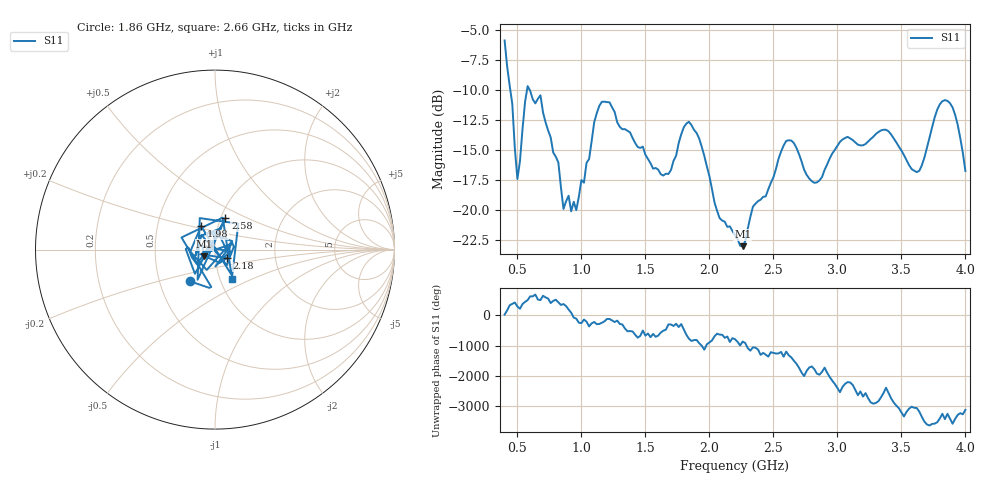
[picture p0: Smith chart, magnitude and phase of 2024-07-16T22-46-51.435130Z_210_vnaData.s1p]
!Created with skrf (http://scikit-rf.org).
# Hz S RI R 50.0
!freq ReS11 ImS11
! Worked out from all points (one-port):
!   181 points, 400 MHz to 4 GHz, reference 50 ohm
!   lowest |S11| = -23.0 dB at 2.26 GHz (marker M1), VSWR 1.15, Z = 44.2 - j3.26 ohm
!   |S11| at or under -10 dB: 444.3 MHz to 575.1 MHz (130.8 MHz wide, 25.7 % of centre); 596 MHz to end of sweep
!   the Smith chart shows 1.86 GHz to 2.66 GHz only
!   S11 on the Smith chart (normalised r, x): 1.86 GHz: 0.71, -0.27; 1.98 GHz: 0.83, +0.22; 2.18 GHz: 1.14, -0.11; 2.58 GHz: 1.05, +0.38; 2.66 GHz: 1.13, -0.39
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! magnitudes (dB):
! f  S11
! 400 MHz  -5.9
! 460 MHz  -11.2
! 500 MHz  -17.4
! 580 MHz  -9.7
! 680 MHz  -10.4
! 820 MHz  -16.1
! 860 MHz  -19.9
! 960 MHz  -20.0
! 1.16 GHz  -11.0
! 1.3 GHz  -13.1
! 1.64 GHz  -17.1
! 1.76 GHz  -14.4
! 1.86 GHz  -12.9
! 1.98 GHz  -16.4
! 2.08 GHz  -20.7
! 2.18 GHz  -21.8
! 2.2 GHz  -22.1
! 2.26 GHz  -23.0
! 2.58 GHz  -14.6
! 2.66 GHz  -14.4
! 2.82 GHz  -17.7
! 3.1 GHz  -14.0
! 3.38 GHz  -13.3
! 3.56 GHz  -16.3
! 3.64 GHz  -16.7
! 3.84 GHz  -10.9
! 3.92 GHz  -12.1
! 4 GHz  -16.8
